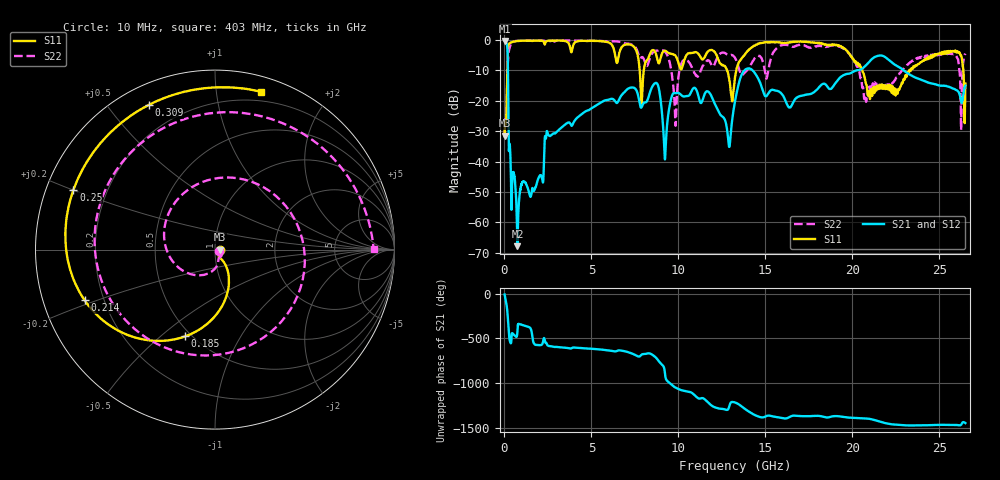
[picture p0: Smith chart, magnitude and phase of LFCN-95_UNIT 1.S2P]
!Created: 10-09-2013 at 14:40:48
!Mini-Circuits
!S2P DATA File Format
!Type: LOW PASS FILTER
!MODEL: LFCN-95+
!S/N: Unit 1
!PIN OUT: PORT 1 - PIN 1, PORT 2 - PIN 3, GROUND - PIN 2,4
!TEST CONDITIONS: Z:50 OHM SYSTEM, INPUT POWER = -10dBm
!PROD RUN: MN31690 DATE CODE: 1314
!REMARK: UNITS MOUNTED ON TB-270 RUN#MN43610 D/C 1336. PORT EXTENSION HAS BEEN DONE.
!TESTED ON: NETWORK ANALYZER MODEL AG N5242A S/N 71932 CAL DUE DATE 3/15/14
# MHZ S DB R 50
!Frequency  S11 dB  S11 DEG  S21 dB  S21 DEG  S12 dB  S12 DEG  S22 dB  S22 DEG
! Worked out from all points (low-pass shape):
!   4441 points, 10 MHz to 26.5 GHz, reference 50 ohm
!   highest |S21| = -0.28 dB at 10 MHz (marker M1); lowest = -67.8 dB at 748 MHz (marker M2)
!   |S21| within 3 dB of the highest: start of sweep to 173.1 MHz
!   lowest |S11| = -31.5 dB at 10 MHz (marker M3), VSWR 1.05, Z = 52.7 - j0.0527 ohm
!   |S11| at or under -10 dB: 7.777 GHz to 8.01 GHz (233 MHz wide, 2.95 % of centre); 12.8 GHz to 13.33 GHz (528.3 MHz wide, 4.04 % of centre); 20.58 GHz to 23.27 GHz (2.696 GHz wide, 12.3 % of centre)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
!   |S22| runs from -32.1 to -0.2 dB; largest |S21 - S12| = 0.0095
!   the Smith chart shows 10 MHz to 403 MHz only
!   S11 on the Smith chart (normalised r, x): 10 MHz: 1.05, -0.00; 185 MHz: 0.46, -0.61; 214 MHz: 0.13, -0.18; 250 MHz: 0.08, +0.20; 309 MHz: 0.08, +0.64; 403 MHz: 0.12, +1.32
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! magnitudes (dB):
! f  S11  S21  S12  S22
! 10 MHz  -31.5  -0.3  -0.3  -32.1
! 185 MHz  -5.8  -5.0  -5.0  -9.4
! 214 MHz  -2.2  -14.9  -14.9  -5.9
! 250 MHz  -1.3  -35.7  -35.8  -3.8
! 309 MHz  -1.0  -34.5  -34.5  -2.3
! 403 MHz  -0.8  -55.7  -55.6  -1.1
! 568 MHz  -0.5  -44.6  -44.5  -0.4
! 748 MHz  -0.3  -67.8  -67.7  -0.3
! 1 GHz  -0.2  -47.2  -47.1  -0.2
! 2.15 GHz  -0.2  -45.3  -45.2  -0.2
! 2.415 GHz  -0.4  -30.8  -30.8  -0.7
! 4.425 GHz  -0.3  -24.4  -24.4  -0.2
! 8.84 GHz  -7.3  -15.1  -15.1  -3.5
! 9.23 GHz  -3.5  -39.2  -39.2  -3.8
! 9.83 GHz  -5.2  -17.5  -17.4  -27.7
! 10.33 GHz  -6.8  -18.6  -18.6  -6.5
! 13.26 GHz  -12.1  -20.0  -20.0  -5.9
! 14 GHz  -3.5  -9.4  -9.3  -9.6
! 17.67 GHz  -0.8  -17.6  -17.6  -2.4
! 22.09 GHz  -14.8  -6.5  -6.5  -14.8
! 25.72 GHz  -3.8  -15.8  -15.8  -4.5
! 26.5 GHz  -14.4  -15.0  -14.9  -4.5
